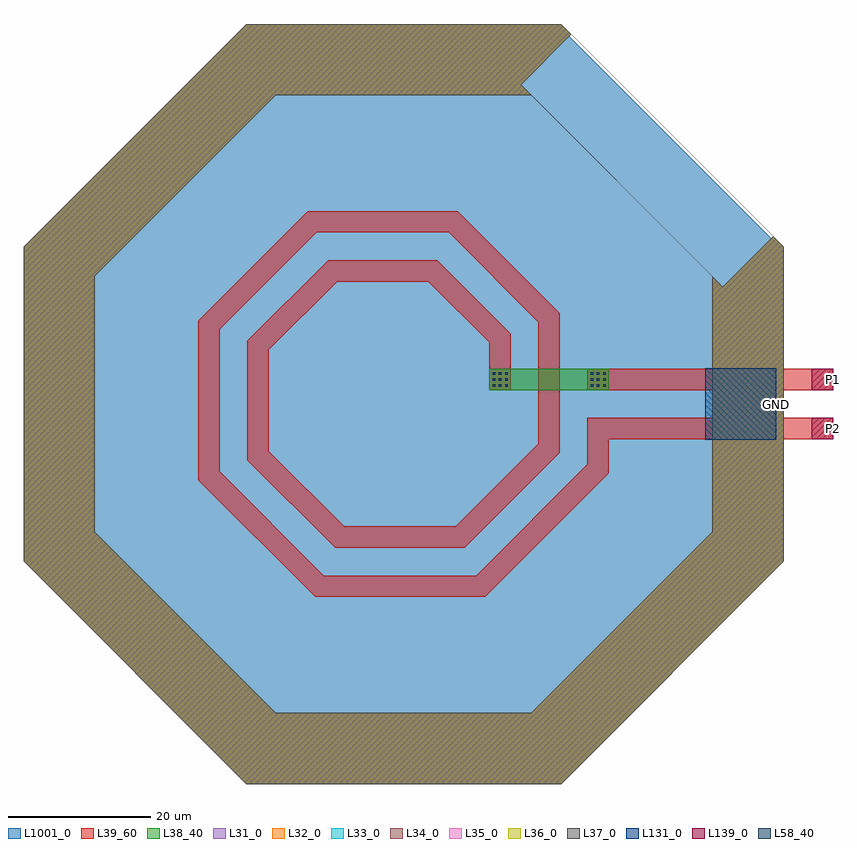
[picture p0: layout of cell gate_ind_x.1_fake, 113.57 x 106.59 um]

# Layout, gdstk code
import gdstk
lib = gdstk.Library(unit=1e-6, precision=1e-09)
def R(c, l, rs):  # rectangles x0, y0, x1, y1
    for r in rs: c.add(gdstk.rectangle(r[:2], r[2:], *l))
def A(c, l, x, y, w, h, nx, ny, dx, dy):  # array of equal rectangles
    R(c, l, [(x+i*dx, y+j*dy, x+i*dx+w, y+j*dy+h) for i in range(nx) for j in range(ny)])
def P(c, l, *ps):  # polygons
    for p in ps: c.add(gdstk.Polygon(p, *l))
L31_0 = (31, 0)
L32_0 = (32, 0)
L33_0 = (33, 0)
L34_0 = (34, 0)
L35_0 = (35, 0)
L36_0 = (36, 0)
L37_0 = (37, 0)
L38_40 = (38, 40)
L39_60 = (39, 60)
L58_40 = (58, 40)
L131_0 = (131, 0)
L139_0 = (139, 0)
L1001_0 = (1001, 0)

gate_ind_x_1_fake = lib.new_cell('gate_ind_x.1_fake')
P(gate_ind_x_1_fake, L31_0, [(44.761,16.469),(51.832,23.54),(22.076,53.296),(-22.076,53.296),(-53.296,22.076),(-53.296,-22.076),(-22.076,-53.296),(22.076,-53.296),(53.296,-22.076),(53.296,22.076),(23.54,51.832),(16.469,44.761),(43.296,17.934),(43.296,-17.934),(17.934,-43.296),(-17.934,-43.296),(-43.296,-17.934),(-43.296,17.934),(-17.934,43.296),(17.934,43.296)])
P(gate_ind_x_1_fake, L32_0, [(44.761,16.469),(51.832,23.54),(22.076,53.296),(-22.076,53.296),(-53.296,22.076),(-53.296,-22.076),(-22.076,-53.296),(22.076,-53.296),(53.296,-22.076),(53.296,22.076),(23.54,51.832),(16.469,44.761),(43.296,17.934),(43.296,-17.934),(17.934,-43.296),(-17.934,-43.296),(-43.296,-17.934),(-43.296,17.934),(-17.934,43.296),(17.934,43.296)])
P(gate_ind_x_1_fake, L33_0, [(44.761,16.469),(51.832,23.54),(22.076,53.296),(-22.076,53.296),(-53.296,22.076),(-53.296,-22.076),(-22.076,-53.296),(22.076,-53.296),(53.296,-22.076),(53.296,22.076),(23.54,51.832),(16.469,44.761),(43.296,17.934),(43.296,-17.934),(17.934,-43.296),(-17.934,-43.296),(-43.296,-17.934),(-43.296,17.934),(-17.934,43.296),(17.934,43.296)])
P(gate_ind_x_1_fake, L34_0, [(44.761,16.469),(51.832,23.54),(22.076,53.296),(-22.076,53.296),(-53.296,22.076),(-53.296,-22.076),(-22.076,-53.296),(22.076,-53.296),(53.296,-22.076),(53.296,22.076),(23.54,51.832),(16.469,44.761),(43.296,17.934),(43.296,-17.934),(17.934,-43.296),(-17.934,-43.296),(-43.296,-17.934),(-43.296,17.934),(-17.934,43.296),(17.934,43.296)])
P(gate_ind_x_1_fake, L35_0, [(44.761,16.469),(51.832,23.54),(22.076,53.296),(-22.076,53.296),(-53.296,22.076),(-53.296,-22.076),(-22.076,-53.296),(22.076,-53.296),(53.296,-22.076),(53.296,22.076),(23.54,51.832),(16.469,44.761),(43.296,17.934),(43.296,-17.934),(17.934,-43.296),(-17.934,-43.296),(-43.296,-17.934),(-43.296,17.934),(-17.934,43.296),(17.934,43.296)])
P(gate_ind_x_1_fake, L36_0, [(44.761,16.469),(51.832,23.54),(22.076,53.296),(-22.076,53.296),(-53.296,22.076),(-53.296,-22.076),(-22.076,-53.296),(22.076,-53.296),(53.296,-22.076),(53.296,22.076),(23.54,51.832),(16.469,44.761),(43.296,17.934),(43.296,-17.934),(17.934,-43.296),(-17.934,-43.296),(-43.296,-17.934),(-43.296,17.934),(-17.934,43.296),(17.934,43.296)])
P(gate_ind_x_1_fake, L37_0, [(44.761,16.469),(51.832,23.54),(22.076,53.296),(-22.076,53.296),(-53.296,22.076),(-53.296,-22.076),(-22.076,-53.296),(22.076,-53.296),(53.296,-22.076),(53.296,22.076),(23.54,51.832),(16.469,44.761),(43.296,17.934),(43.296,-17.934),(17.934,-43.296),(-17.934,-43.296),(-43.296,-17.934),(-43.296,17.934),(-17.934,43.296),(17.934,43.296)])
R(gate_ind_x_1_fake, L38_40, [(12.025,1.94,28.775,4.94)])
P(gate_ind_x_1_fake, L38_40, [(44.761,16.469),(51.832,23.54),(22.076,53.296),(-22.076,53.296),(-53.296,22.076),(-53.296,-22.076),(-22.076,-53.296),(22.076,-53.296),(53.296,-22.076),(53.296,22.076),(23.54,51.832),(16.469,44.761),(43.296,17.934),(43.296,-17.934),(17.934,-43.296),(-17.934,-43.296),(-43.296,-17.934),(-43.296,17.934),(-17.934,43.296),(17.934,43.296)])
R(gate_ind_x_1_fake, L39_60, [(25.775,-4.94,60.275,-1.94), (25.775,1.94,60.275,4.94)])
P(gate_ind_x_1_fake, L39_60, [(12.025,1.94),(15.025,1.94),(15.025,9.872),(4.711,20.18),(-10.581,20.18),(-21.9,8.861),(-21.9,-7.856),(-9.576,-20.18),(8.566,-20.18),(21.9,-6.851),(21.9,12.716),(7.561,27.055),(-13.431,27.055),(-28.775,11.711),(-28.775,-10.701),(-12.421,-27.055),(11.416,-27.055),(28.775,-9.696),(28.775,-3.44),(25.775,-3.44),(25.775,-8.454),(10.174,-24.055),(-11.179,-24.055),(-25.775,-9.459),(-25.775,10.469),(-12.189,24.055),(6.319,24.055),(18.9,11.474),(18.9,-5.609),(7.324,-17.18),(-8.334,-17.18),(-18.9,-6.614),(-18.9,7.619),(-9.339,17.18),(3.469,17.18),(12.025,8.628)],
  [(44.761,16.469),(51.832,23.54),(22.076,53.296),(-22.076,53.296),(-53.296,22.076),(-53.296,-22.076),(-22.076,-53.296),(22.076,-53.296),(53.296,-22.076),(53.296,22.076),(23.54,51.832),(16.469,44.761),(43.296,17.934),(43.296,-17.934),(17.934,-43.296),(-17.934,-43.296),(-43.296,-17.934),(-43.296,17.934),(-17.934,43.296),(17.934,43.296)])
A(gate_ind_x_1_fake, L58_40, 12.48, 2.392, 0.35, 0.35, 3, 3, 0.87, 0.87)
A(gate_ind_x_1_fake, L58_40, 26.23, 2.392, 0.35, 0.35, 3, 3, 0.87, 0.87)
R(gate_ind_x_1_fake, L131_0, [(42.275,-5,52.275,5)])
R(gate_ind_x_1_fake, L139_0, [(57.275,-4.94,60.275,-1.94), (57.275,1.94,60.275,4.94)])
P(gate_ind_x_1_fake, L1001_0, [(52.915,21.918),(21.918,52.915),(-21.918,52.915),(-52.915,21.918),(-52.915,-21.918),(-21.918,-52.915),(21.918,-52.915),(52.915,-21.918)],
  [(52.915,21.918),(21.918,52.915),(-21.918,52.915),(-52.915,21.918),(-52.915,-21.918),(-21.918,-52.915),(21.918,-52.915),(52.915,-21.918)],
  [(52.915,21.918),(21.918,52.915),(-21.918,52.915),(-52.915,21.918),(-52.915,-21.918),(-21.918,-52.915),(21.918,-52.915),(52.915,-21.918)],
  [(52.915,21.918),(21.918,52.915),(-21.918,52.915),(-52.915,21.918),(-52.915,-21.918),(-21.918,-52.915),(21.918,-52.915),(52.915,-21.918)],
  [(52.915,21.918),(21.918,52.915),(-21.918,52.915),(-52.915,21.918),(-52.915,-21.918),(-21.918,-52.915),(21.918,-52.915),(52.915,-21.918)],
  [(52.915,21.918),(21.918,52.915),(-21.918,52.915),(-52.915,21.918),(-52.915,-21.918),(-21.918,-52.915),(21.918,-52.915),(52.915,-21.918)],
  [(52.915,21.918),(21.918,52.915),(-21.918,52.915),(-52.915,21.918),(-52.915,-21.918),(-21.918,-52.915),(21.918,-52.915),(52.915,-21.918)],
  [(52.915,21.918),(21.918,52.915),(-21.918,52.915),(-52.915,21.918),(-52.915,-21.918),(-21.918,-52.915),(21.918,-52.915),(52.915,-21.918)],
  [(52.915,21.918),(21.918,52.915),(-21.918,52.915),(-52.915,21.918),(-52.915,-21.918),(-21.918,-52.915),(21.918,-52.915),(52.915,-21.918)])
gate_ind_x_1_fake.add(gdstk.Label('P1', (60.275,3.437), layer=139, texttype=0))
gate_ind_x_1_fake.add(gdstk.Label('P2', (60.275,-3.437), layer=139, texttype=0))
gate_ind_x_1_fake.add(gdstk.Label('GND', (52.275,0), layer=131, texttype=0))

lib.write_gds('gate_ind_x.1_fake.gds')
